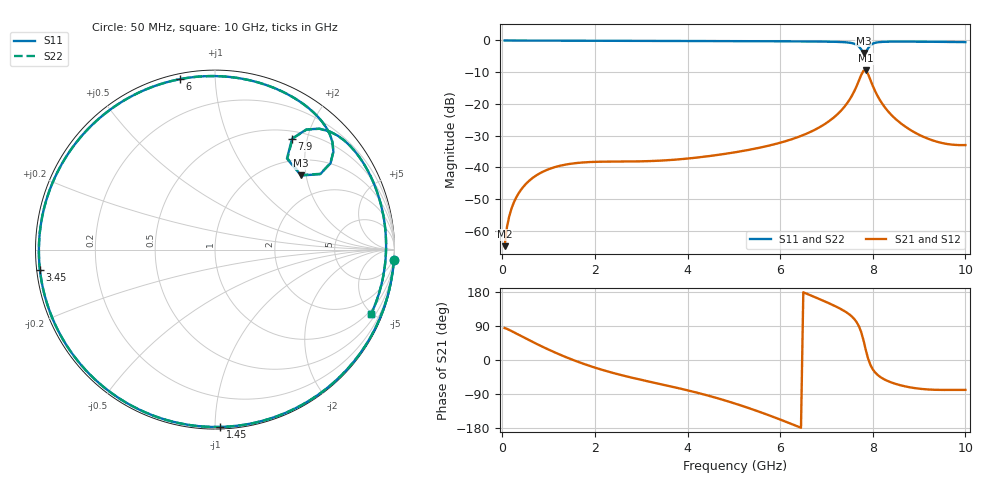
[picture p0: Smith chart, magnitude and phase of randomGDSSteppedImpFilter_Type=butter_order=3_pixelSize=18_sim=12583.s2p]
! freq	dB(S11)	phase(S11)	dB(S12)	phase(S12)
!  dB(S21)	phase(S21)	dB(S22)	phase(S22)
!S-par simulation data
#  GHz  S  DB  R 50
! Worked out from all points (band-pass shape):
!   200 points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, 50 MHz to 10 GHz, reference 50 ohm
!   highest |S21| = -9.46 dB at 7.85 GHz (marker M1); lowest = -64.9 dB at 50 MHz (marker M2)
!   |S21| within 3 dB of the highest: 7.707 GHz to 7.949 GHz (242.2 MHz wide, 3.09 % of centre)
!   lowest |S11| = -4.0 dB at 7.8 GHz (marker M3), VSWR 4.45, Z = 67.9 + j93.5 ohm
!   |S11| at or under -10 dB: nowhere
!   |S22| runs from -3.9 to 0.0 dB; largest |S21 - S12| = 0
!   S11 on the Smith chart (normalised r, x): 50 MHz: 1, -36; 1.45 GHz: 0.01, -1.03; 3.45 GHz: 0.01, -0.06; 6 GHz: 0.03, +0.81; 7.9 GHz: 0.61, +1.75; 10 GHz: 0.78, -4.90
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0.05  -0.01 -3.2  -64.92 84.4  -64.92 84.4  -0.01 -3.2
0.1  -0.02 -6.5  -58.96 82.2  -58.96 82.2  -0.02 -6.5
0.2  -0.03 -13.1  -53.00 76.3  -53.00 76.3  -0.03 -13.1
0.45  -0.05 -29.4  -46.25 60.5  -46.25 60.5  -0.05 -29.4
0.95  -0.07 -60.4  -40.93 30.3  -40.93 30.3  -0.07 -60.4
1.45  -0.10 -88.4  -38.97 3.9  -38.97 3.9  -0.10 -88.3
1.75  -0.11 -103.6  -38.50 -9.9  -38.50 -9.9  -0.11 -103.5
2.55  -0.13 -139.3  -38.22 -39.2  -38.22 -39.2  -0.13 -139.2
3.4  -0.16 -171.7  -37.94 -63.2  -37.94 -63.2  -0.16 -171.6
3.45  -0.16 -173.5  -37.90 -64.5  -37.90 -64.5  -0.16 -173.4
4.2  -0.18 160.8  -36.96 -86.1  -36.96 -86.1  -0.18 160.8
5.05  -0.22 132.8  -35.24 -115.9  -35.24 -115.9  -0.22 132.8
6  -0.27 101.7  -32.28 -157.1  -32.28 -157.1  -0.27 101.7
6.7  -0.33 78.1  -28.55 168.5  -28.55 168.5  -0.33 78.2
7.25  -0.46 58.3  -23.12 138.4  -23.12 138.4  -0.46 58.4
7.6  -1.04 42.4  -16.04 108.3  -16.04 108.3  -1.04 42.5
7.8  -3.98 40.7  -9.57 51.8  -9.57 51.8  -3.94 40.8
7.85  -3.79 51.7  -9.46 26.0  -9.46 26.0  -3.76 51.6
7.9  -2.46 55.2  -10.69 3.3  -10.69 3.3  -2.44 55.1
8.35  -0.39 31.3  -22.69 -56.8  -22.69 -56.8  -0.39 31.2
9.1  -0.40 5.1  -30.45 -76.9  -30.45 -76.9  -0.40 5.1
10  -0.53 -22.6  -33.02 -78.9  -33.02 -78.9  -0.53 -22.6
